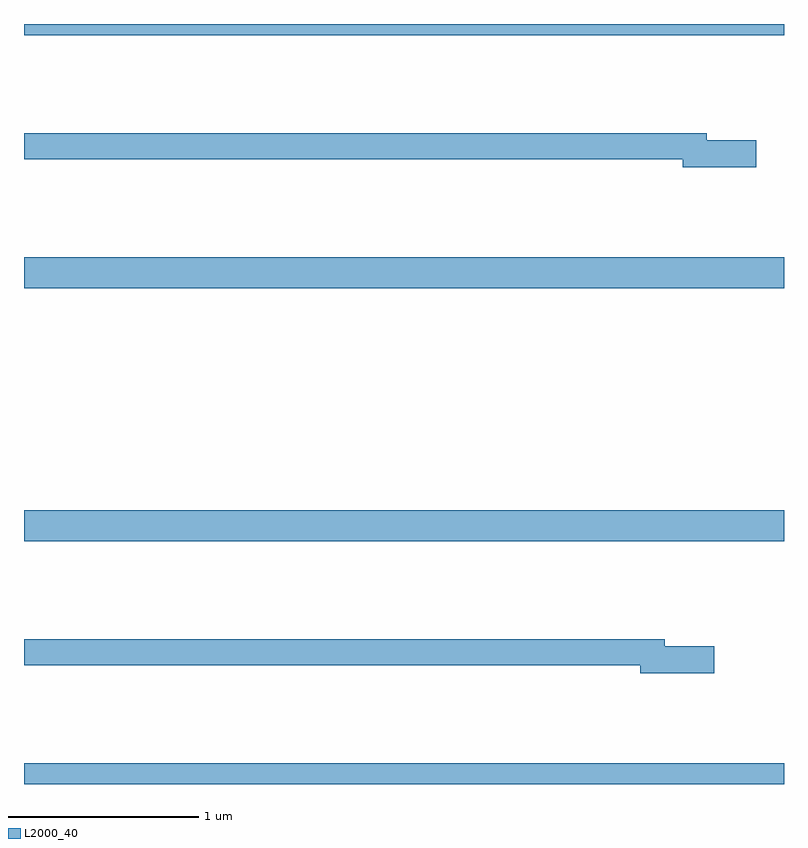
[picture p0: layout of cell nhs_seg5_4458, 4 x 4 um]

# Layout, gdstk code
import gdstk
lib = gdstk.Library(unit=1e-6, precision=1e-09)
def R(c, l, rs):  # rectangles x0, y0, x1, y1
    for r in rs: c.add(gdstk.rectangle(r[:2], r[2:], *l))
def P(c, l, *ps):  # polygons
    for p in ps: c.add(gdstk.Polygon(p, *l))
L2000_40 = (2000, 40)

nhs_seg5_4458 = lib.new_cell('nhs_seg5_4458')
R(nhs_seg5_4458, L2000_40, [(373,872.799,377,872.908), (373,874.076,377,874.24), (373,875.408,377,875.572), (373,876.74,377,876.799)])
P(nhs_seg5_4458, L2000_40, [(376.855,876.188),(376.594,876.188),(376.594,876.224),(373,876.224),(373,876.088),(376.466,876.088),(376.466,876.046),(376.855,876.046)],
  [(376.633,873.524),(376.372,873.524),(376.372,873.56),(373,873.56),(373,873.424),(376.244,873.424),(376.244,873.382),(376.633,873.382)])

lib.write_gds('nhs_seg5_4458.gds')
